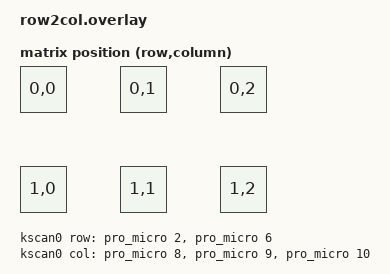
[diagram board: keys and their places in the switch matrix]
#include <dt-bindings/zmk/matrix_transform.h>
#include <physical_layouts.dtsi>

/ {
    chosen {
        zmk,kscan = &kscan0;
        zmk,physical-layout = &default_layout;
    };

    kscan0: kscan_0 {
        compatible = "zmk,kscan-gpio-matrix";
        wakeup-source;
        diode-direction = "row2col";
        row-gpios = <&pro_micro 2 GPIO_ACTIVE_HIGH>, <&pro_micro 6 GPIO_ACTIVE_HIGH>;
        col-gpios = <&pro_micro 8 (GPIO_ACTIVE_HIGH | GPIO_PULL_DOWN)>, <&pro_micro 9 (GPIO_ACTIVE_HIGH | GPIO_PULL_DOWN)>, <&pro_micro 10 (GPIO_ACTIVE_HIGH | GPIO_PULL_DOWN)>;
    };

    default_transform: keymap_transform_0 {
        compatible = "zmk,matrix-transform";
        rows = <2>;
        columns = <3>;
        map = <
            RC(0,0)
            RC(0,1)
            RC(0,2)
            RC(1,0)
            RC(1,1)
            RC(1,2)
        >;
    };

    default_layout: default_layout {
        compatible = "zmk,physical-layout";
        display-name = "Unibody six";
        transform = <&default_transform>;
        kscan = <&kscan0>;
        keys = <&key_physical_attrs 100 100 0 0 0 0 0>,
            <&key_physical_attrs 100 100 200 0 0 0 0>,
            <&key_physical_attrs 100 100 400 0 0 0 0>,
            <&key_physical_attrs 100 100 0 200 0 0 0>,
            <&key_physical_attrs 100 100 200 200 0 0 0>,
            <&key_physical_attrs 100 100 400 200 0 0 0>;
    };
};
